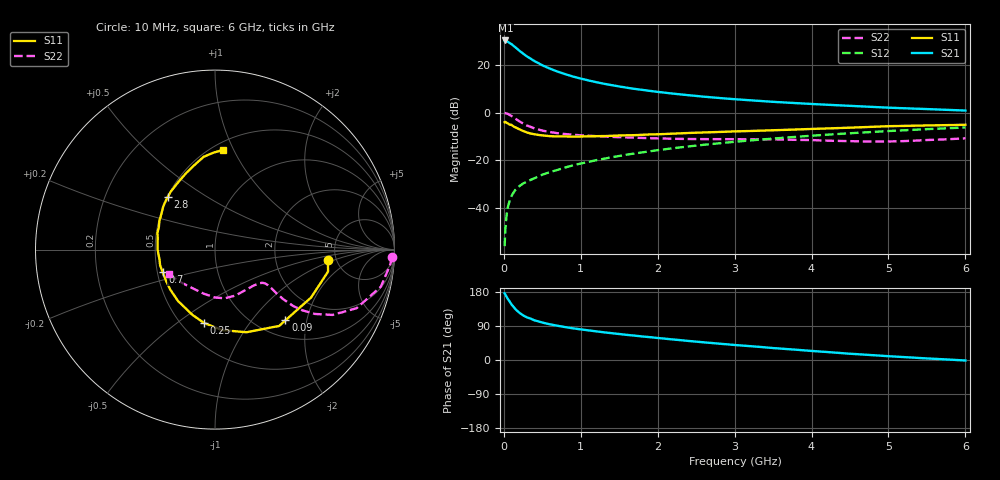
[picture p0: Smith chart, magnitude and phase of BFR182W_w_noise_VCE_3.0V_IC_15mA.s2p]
! Infineon Technologies  Discrete & RF Semiconductors
! BFR182W
! VCE =  3.0 V,  IC =  15 mA
! Common Emitter S-Parameters:  Jan 2017
# GHz  S  MA  R  50
!  f  S11  S21  S12  S22
! GHz  MAG  ANG  MAG  ANG  MAG  ANG  MAG  ANG
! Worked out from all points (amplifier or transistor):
!   77 points, 10 MHz to 6 GHz, reference 50 ohm
!   highest |S21| = 30.2 dB at 20 MHz (marker M1)
!   |S21| within 3 dB of that: start of sweep to 154.6 MHz
!   unconditionally stable (mu >= 1): 897.1 MHz to 2.472 GHz
!   at 130 MHz: K = 0.36, MSG = 30.6 dB, |S12| = -33.3 dB
!   at 2.2 GHz: K = 1.02, MAG = 10.6 dB, |S12| = -14.9 dB
!   at 6 GHz: K = 0.87, MSG = 3.5 dB, |S12| = -6.2 dB
!   lowest NFmin = 1.25 dB at 450 MHz
!   S11 on the Smith chart (normalised r, x): 10 MHz: 4.25, -0.85; 90 MHz: 1.32, -1.50; 250 MHz: 0.64, -0.63; 700 MHz: 0.53, -0.15; 2.8 GHz: 0.50, +0.35; 6 GHz: 0.57, +0.91
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0.01  0.6315 -5.5  32.17 176.0  0.0016 83.6  0.9892 -2.4
0.02  0.6418 -11.0  32.52 172.5  0.0036 86.3  0.9784 -5.2
0.05  0.5982 -26.5  30.76 161.7  0.0102 79.1  0.9471 -12.6
0.09  0.5562 -45.1  27.76 149.6  0.0164 73.1  0.8698 -20.4
0.1  0.5555 -50.0  27.22 146.2  0.018 72.3  0.8533 -22.5
0.15  0.4926 -69.2  23.36 134.1  0.0242 65.9  0.7484 -29.1
0.2  0.4499 -85.1  19.98 125.0  0.0287 63.6  0.6616 -32.8
0.25  0.4138 -98.3  17.28 117.8  0.0328 62.0  0.5927 -34.8
0.3  0.3848 -109.1  15.05 112.6  0.0359 61.3  0.5383 -35.8
0.4  0.3529 -125.8  11.95 104.5  0.0425 62.6  0.4668 -36.0
0.5  0.3339 -138.7  9.825 98.8  0.0502 63.9  0.4215 -35.4
0.6  0.3223 -148.7  8.346 94.1  0.057 64.7  0.3919 -34.7
0.7  0.3174 -157.1  7.226 90.3  0.0634 66.5  0.3709 -34.1
0.9  0.314 -170.2  5.701 83.6  0.0788 67.3  0.3449 -33.9
1.1  0.3201 179.5  4.731 78.2  0.0931 67.9  0.3289 -34.5
1.5  0.3335 164.1  3.535 68.6  0.1239 67.7  0.3068 -38.1
2.1  0.3578 146.9  2.612 56.2  0.1718 65.1  0.2866 -48.2
2.8  0.3943 131.8  2.03 43.1  0.2284 60.6  0.2792 -63.9
3.1  0.4091 125.9  1.866 38.1  0.2534 58.3  0.2776 -70.4
4.1  0.4614 109.1  1.493 22.5  0.3372 49.8  0.263 -92.8
5.1  0.5243 95.7  1.255 8.9  0.4197 40.3  0.2512 -125.2
6  0.5575 85.3  1.107 -1.3  0.4889 31.1  0.2901 -152.3
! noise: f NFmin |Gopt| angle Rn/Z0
0.45  1.25  0.04  146  0.15
0.9  1.33  0.05  146  0.15
1.9  1.82  0.24  -148  0.15
2.4  2.07  0.24  -133  0.22
